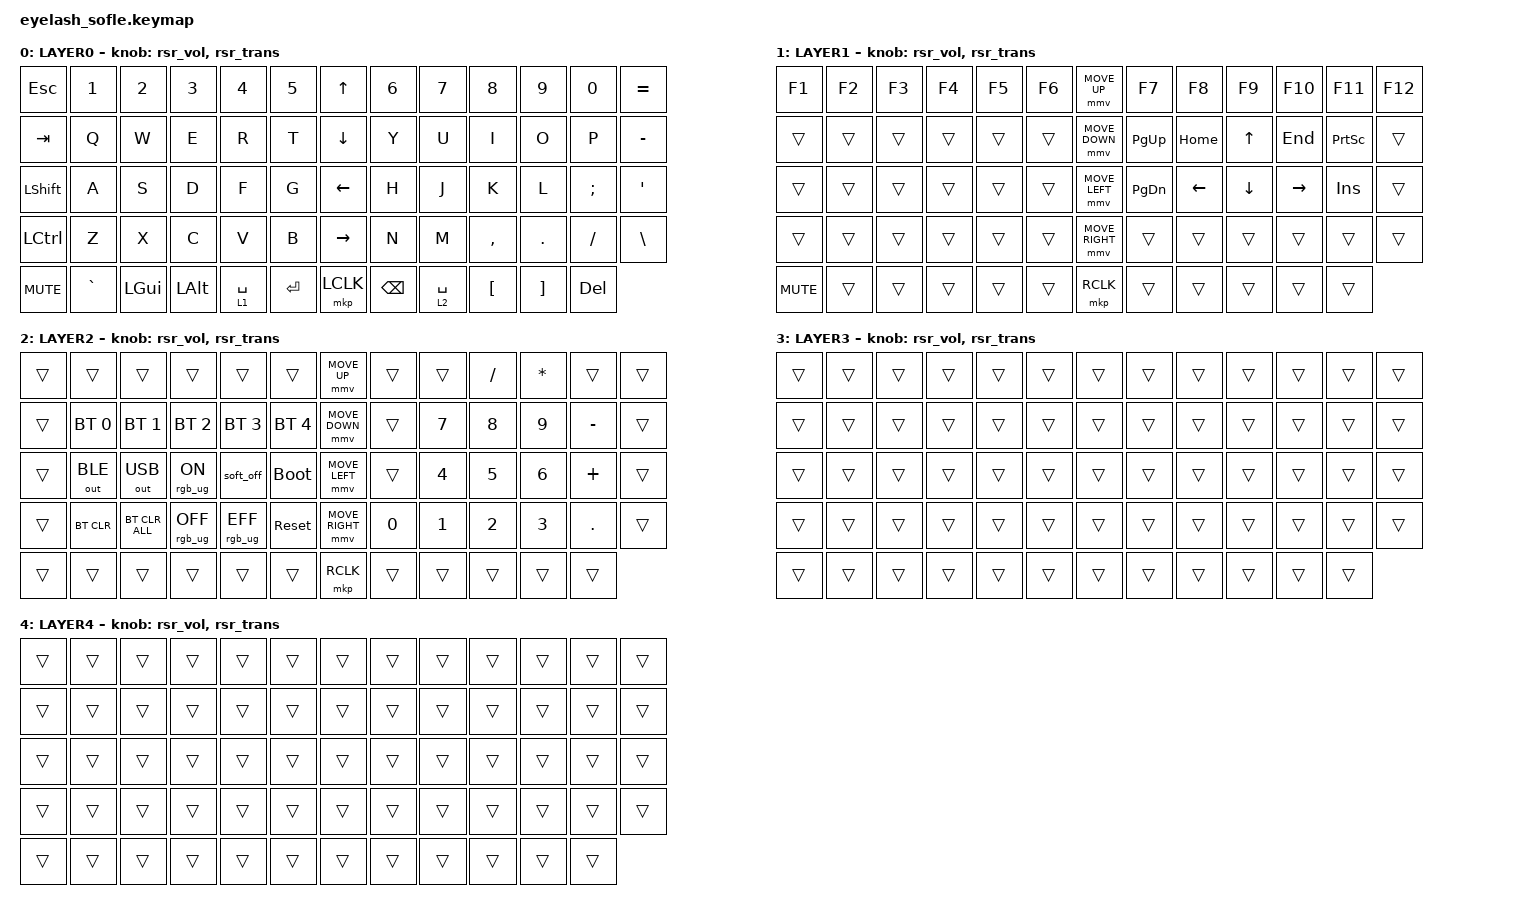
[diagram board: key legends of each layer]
#define ZMK_POINTING_DEFAULT_MOVE_VAL 1200  // 600
#define ZMK_POINTING_DEFAULT_SCRL_VAL 25   // 10

#include <input/processors.dtsi>
#include <zephyr/dt-bindings/input/input-event-codes.h>
#include <behaviors.dtsi>
#include <behaviors/runtime-sensor-rotate.dtsi>
#include <dt-bindings/zmk/bt.h>
#include <dt-bindings/zmk/keys.h>
#include <dt-bindings/zmk/outputs.h>
#include <dt-bindings/zmk/pointing.h>
#include <dt-bindings/zmk/rgb.h>
#include <dt-bindings/zmk/behaviors.h>

&mmv_input_listener { input-processors = <&zip_xy_scaler 2 1>; };

&msc_input_listener { input-processors = <&zip_scroll_scaler 2 1>; };

&msc {
    acceleration-exponent = <1>;      // 0
    time-to-max-speed-ms = <100>;       // 300
    delay-ms = <0>;                   // 0
};

&mmv {
    time-to-max-speed-ms = <500>;
    acceleration-exponent = <1>;
    trigger-period-ms = <16>;
};

&soft_off { hold-time-ms = <2000>; };

/ {
    scroll_encoder: scroll_encoder {
        compatible = "zmk,behavior-sensor-rotate";
        #sensor-binding-cells = <0>;
        bindings = <&msc SCRL_DOWN>, <&msc SCRL_UP>;

        tap-ms = <100>;
    };

    behaviors {
        rsr_vol: rsr_vol {
            compatible = "zmk,behavior-runtime-sensor-rotate";
            #sensor-binding-cells = <0>;
            tap-ms = <5>;
            cw-binding = <&kp C_VOL_UP>;
            ccw-binding = <&kp C_VOL_DN>;
        };

        rsr_trans: rsr_trans {
            compatible = "zmk,behavior-runtime-sensor-rotate";
            #sensor-binding-cells = <0>;
            tap-ms = <0>;
        };

        l1t: layer_1_tap {
            compatible = "zmk,behavior-hold-tap";
            #binding-cells = <2>;
            flavor = "tap-preferred";
            tapping-term-ms = <200>;
            bindings = <&mo>, <&kp>;
            display-name = "Layer-Tap";
        };

        l2t: layer_2_tap {
            compatible = "zmk,behavior-hold-tap";
            #binding-cells = <2>;
            flavor = "tap-preferred";
            tapping-term-ms = <200>;
            bindings = <&mo>, <&kp>;
            display-name = "Layer-Tap";
        };

        mt_key: mod_tap_keys {
            compatible = "zmk,behavior-hold-tap";
            #binding-cells = <2>;
            flavor = "hold-preferred";
            tapping-term-ms = <200>;
            bindings = <&kp>, <&kp>;
            display-name = "Mod-Tap";
        };
    };

    combos {
        compatible = "zmk,combos";

        softoff {
            bindings = <&soft_off>;
            key-positions = <14 28 40>;
        };
    };

    macros {
        SHIFT_MCLK: SHIFT_MCLK {
            compatible = "zmk,behavior-macro";
            #binding-cells = <0>;
            bindings =
                <&macro_press>,
                <&kp LEFT_SHIFT>,
                <&macro_press>,
                <&mkp MB3>,
                <&macro_pause_for_release>,
                <&macro_release>,
                <&kp LEFT_SHIFT &mkp MB3>;

            label = "SHIFT_MCLK";
        };
    };

    keymap {
        compatible = "zmk,keymap";

        layer0 {
            bindings = <
&kp ESC     &kp N1     &kp N2        &kp N3        &kp N4        &kp N5     &kp UP_ARROW     &kp N6         &kp N7        &kp N8            &kp N9             &kp N0      &kp EQUAL
&kp TAB     &kp Q      &kp W         &kp E         &kp R         &kp T      &kp DOWN_ARROW   &kp Y          &kp U         &kp I             &kp O              &kp P       &kp MINUS
&kp LSHFT   &kp A      &kp S         &kp D         &kp F         &kp G      &kp LEFT_ARROW   &kp H          &kp J         &kp K             &kp L              &kp SEMI    &kp APOS
&kp LCTRL   &kp Z      &kp X         &kp C         &kp V         &kp B      &kp RIGHT_ARROW  &kp N          &kp M         &kp COMMA         &kp DOT            &kp FSLH    &kp BSLH
&kp C_MUTE  &kp GRAVE  &kp LEFT_GUI  &kp LEFT_ALT  &l1t 1 SPACE  &kp ENTER  &mkp LCLK        &kp BACKSPACE  &l2t 2 SPACE  &kp LEFT_BRACKET  &kp RIGHT_BRACKET  &kp DELETE
            >;

            sensor-bindings = <&rsr_vol &rsr_trans>;
            display-name = "LAYER0";
        };

        layer_1 {
            bindings = <
&kp F1      &kp F2  &kp F3  &kp F4  &kp F5  &kp F6  &mmv MOVE_UP     &kp F7     &kp F8    &kp F9      &kp F10    &kp F11          &kp F12
&trans      &trans  &trans  &trans  &trans  &trans  &mmv MOVE_DOWN   &kp PG_UP  &kp HOME  &kp UP      &kp END    &kp PRINTSCREEN  &trans
&trans      &trans  &trans  &trans  &trans  &trans  &mmv MOVE_LEFT   &kp PG_DN  &kp LEFT  &kp DOWN    &kp RIGHT  &kp INSERT       &trans
&trans      &trans  &trans  &trans  &trans  &trans  &mmv MOVE_RIGHT  &trans     &trans    &trans      &trans     &trans           &trans
&kp C_MUTE  &trans  &trans  &trans  &trans  &trans  &mkp RCLK        &trans     &trans    &trans      &trans     &trans
            >;

            sensor-bindings = <&rsr_vol &rsr_trans>;
            display-name = "LAYER1";
        };

        layer_2 {
            bindings = <
&trans      &trans        &trans          &trans           &trans           &trans        &mmv MOVE_UP     &trans  &trans  &kp FSLH  &kp ASTRK  &trans     &trans
&trans      &bt BT_SEL 0  &bt BT_SEL 1    &bt BT_SEL 2     &bt BT_SEL 3     &bt BT_SEL 4  &mmv MOVE_DOWN   &trans  &kp N7  &kp N8    &kp N9     &kp MINUS  &trans
&trans      &out OUT_BLE  &out OUT_USB    &rgb_ug RGB_ON   &soft_off        &bootloader   &mmv MOVE_LEFT   &trans  &kp N4  &kp N5    &kp N6     &kp PLUS   &trans
&trans      &bt BT_CLR    &bt BT_CLR_ALL  &rgb_ug RGB_OFF  &rgb_ug RGB_EFF  &sys_reset    &mmv MOVE_RIGHT  &kp N0  &kp N1  &kp N2    &kp N3     &kp DOT    &trans
&trans      &trans        &trans          &trans           &trans           &trans        &mkp RCLK        &trans  &trans  &trans    &trans     &trans
            >;

            display-name = "LAYER2";
            sensor-bindings = <&rsr_vol &rsr_trans>;
        };

        layer_3 {
            bindings = <
&trans  &trans  &trans  &trans  &trans  &trans    &trans  &trans  &trans  &trans  &trans  &trans  &trans
&trans  &trans  &trans  &trans  &trans  &trans    &trans  &trans  &trans  &trans  &trans  &trans  &trans
&trans  &trans  &trans  &trans  &trans  &trans    &trans  &trans  &trans  &trans  &trans  &trans  &trans
&trans  &trans  &trans  &trans  &trans  &trans    &trans  &trans  &trans  &trans  &trans  &trans  &trans
&trans  &trans  &trans  &trans  &trans  &trans    &trans  &trans  &trans  &trans  &trans  &trans
            >;

            display-name = "LAYER3";
            sensor-bindings = <&rsr_vol &rsr_trans>;
        };

        layer_4 {
            bindings = <
&trans  &trans  &trans  &trans  &trans  &trans    &trans  &trans  &trans  &trans  &trans  &trans  &trans
&trans  &trans  &trans  &trans  &trans  &trans    &trans  &trans  &trans  &trans  &trans  &trans  &trans
&trans  &trans  &trans  &trans  &trans  &trans    &trans  &trans  &trans  &trans  &trans  &trans  &trans
&trans  &trans  &trans  &trans  &trans  &trans    &trans  &trans  &trans  &trans  &trans  &trans  &trans
&trans  &trans  &trans  &trans  &trans  &trans    &trans  &trans  &trans  &trans  &trans  &trans
            >;

            display-name = "LAYER4";
            sensor-bindings = <&rsr_vol &rsr_trans>;
        };
    };
};
